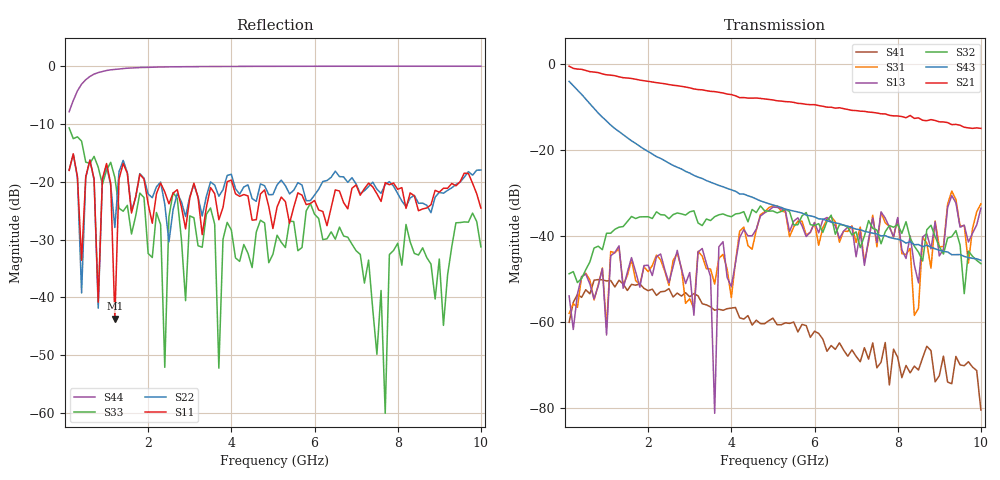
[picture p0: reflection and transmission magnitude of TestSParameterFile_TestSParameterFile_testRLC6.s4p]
# MHz MA S R 50.0
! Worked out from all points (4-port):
!   100 points, 100 MHz to 10 GHz, reference 50 ohm
!   strongest paths, dB at 100 MHz, 2.6 GHz, 5.1 GHz, 7.6 GHz, 10 GHz:
!     S21: -0.5, -4.9, -8.5, -11.6, -14.9
!     S43: -4.0, -23.5, -33.0, -40.0, -45.6
!     S32: -48.8, -35.0, -34.6, -41.8, -46.4
!     S13: -53.9, -47.1, -33.3, -34.4, -33.5
!     S31: -58.0, -45.7, -32.9, -34.5, -32.5
!     S41: -60.1, -54.2, -60.6, -69.3, -80.4
!   lowest |S11| = -43.7 dB at 1.2 GHz (marker M1), VSWR 1.01, Z = 50.5 - j0.456 ohm
!   |S11| at or under -10 dB: start of sweep to end of sweep
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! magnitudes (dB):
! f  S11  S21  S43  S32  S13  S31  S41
! 100 MHz  -18.0  -0.5  -4.0  -48.8  -53.9  -58.0  -60.1
! 1.2 GHz  -43.7  -2.7  -15.0  -38.4  -43.8  -43.9  -51.8
! 3.3 GHz  -29.2  -6.0  -26.6  -37.6  -42.9  -44.7  -55.7
! 3.6 GHz  -22.1  -6.4  -27.8  -35.5  -81.2  -51.2  -57.2
! 3.8 GHz  -24.4  -6.7  -28.5  -34.8  -41.3  -44.2  -57.3
! 7.7 GHz  -20.2  -11.6  -39.9  -39.0  -35.8  -36.9  -64.7
! 10 GHz  -24.6  -14.9  -45.6  -46.4  -33.5  -32.5  -80.4
